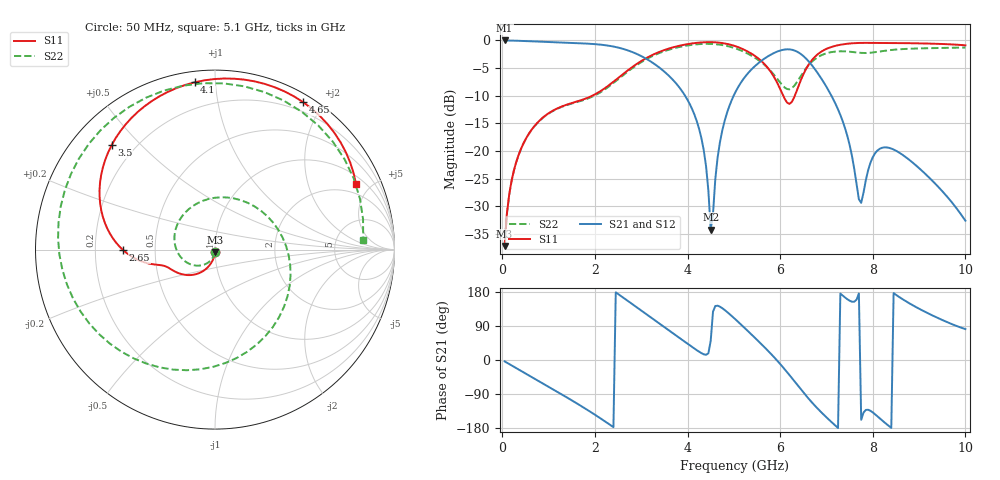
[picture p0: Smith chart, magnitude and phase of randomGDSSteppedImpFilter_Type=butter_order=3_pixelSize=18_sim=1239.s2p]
! freq	dB(S11)	phase(S11)	dB(S12)	phase(S12)
!  dB(S21)	phase(S21)	dB(S22)	phase(S22)
!S-par simulation data
#  GHz  S  DB  R 50
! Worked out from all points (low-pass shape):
!   200 points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, 50 MHz to 10 GHz, reference 50 ohm
!   highest |S21| = -0.01 dB at 50 MHz (marker M1); lowest = -34.2 dB at 4.5 GHz (marker M2)
!   |S21| within 3 dB of the highest: start of sweep to 3.041 GHz; 5.711 GHz to 6.525 GHz (813.6 MHz wide, 13.3 % of centre)
!   lowest |S11| = -37.1 dB at 50 MHz (marker M3), VSWR 1.03, Z = 50 - j1.39 ohm
!   |S11| at or under -10 dB: start of sweep to 1.942 GHz; 6.067 GHz to 6.316 GHz (249.2 MHz wide, 4.02 % of centre)
!   |S22| runs from -37.2 to -0.6 dB; largest |S21 - S12| = 0
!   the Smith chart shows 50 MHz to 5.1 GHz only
!   S11 on the Smith chart (normalised r, x): 50 MHz: 1.00, -0.03; 2.65 GHz: 0.32, -0.00; 3.5 GHz: 0.12, +0.41; 4.1 GHz: 0.06, +0.88; 4.65 GHz: 0.09, +1.76; 5.1 GHz: 1.39, +4.07
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0.05  -37.15 -89.7  -0.01 -3.6  -0.01 -3.6  -37.18 -91.4
0.5  -17.91 -116.9  -0.12 -35.5  -0.12 -35.5  -17.94 -135.0
1.75  -10.66 -161.7  -0.55 -125.0  -0.55 -125.0  -10.80 90.5
2.65  -5.81 -179.7  -1.64 161.3  -1.64 161.3  -6.03 -39.7
3.4  -2.05 140.8  -4.96 95.4  -4.96 95.4  -2.26 -132.4
3.5  -1.74 134.8  -5.65 86.6  -5.65 86.6  -1.95 -143.9
4.1  -0.55 96.9  -12.43 34.3  -12.43 34.3  -0.80 146.3
4.5  -0.32 69.8  -34.17 50.2  -34.17 50.2  -0.64 94.0
4.65  -0.38 59.0  -21.13 143.3  -21.13 143.3  -0.73 72.6
5.05  -1.09 28.9  -9.09 105.6  -9.09 105.6  -1.49 11.6
5.1  -1.24 24.9  -8.34 99.9  -8.34 99.9  -1.64 3.8
5.5  -3.08 -9.3  -4.32 53.3  -4.32 53.3  -3.38 -56.1
6  -8.78 -80.7  -1.83 -10.4  -1.83 -10.4  -7.62 -110.3
6.35  -9.28 153.5  -1.97 -62.6  -1.97 -62.6  -7.69 -111.9
6.7  -3.43 81.8  -4.64 -113.9  -4.64 -113.9  -3.74 -143.8
7.1  -1.21 38.4  -9.89 -162.8  -9.89 -162.8  -2.13 158.8
7.45  -0.61 12.9  -17.24 160.4  -17.24 160.4  -2.01 93.8
7.8  -0.45 -7.0  -27.51 -138.7  -27.51 -138.7  -2.28 1.3
8.05  -0.46 -18.9  -20.39 -143.3  -20.39 -143.3  -2.13 -69.2
8.35  -0.48 -31.4  -19.41 -174.3  -19.41 -174.3  -1.78 -133.7
9.2  -0.57 -62.7  -24.64 122.8  -24.64 122.8  -1.41 121.9
10  -0.89 -91.8  -32.57 81.6  -32.57 81.6  -1.29 57.1
